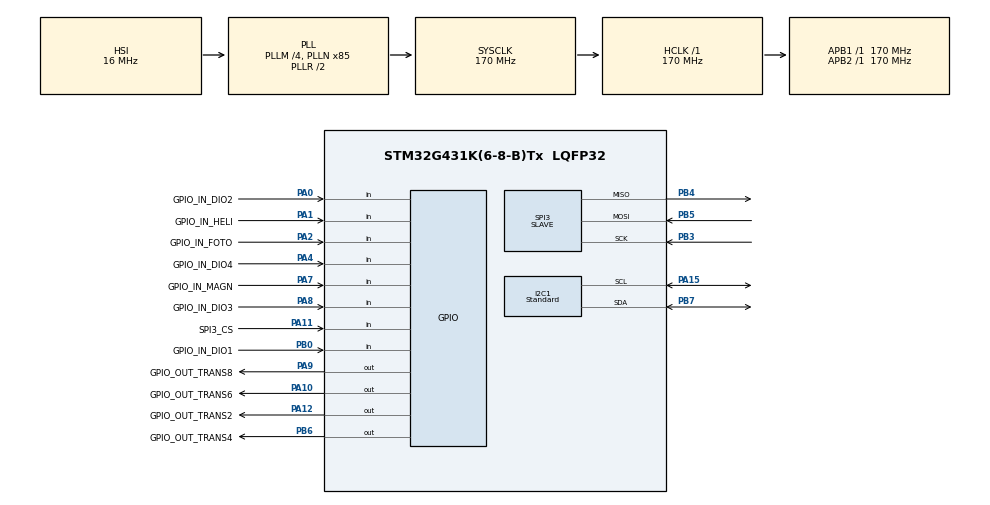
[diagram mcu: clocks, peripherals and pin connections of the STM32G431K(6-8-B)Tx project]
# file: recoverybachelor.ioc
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I2C1.I2C_Speed_Mode=I2C_Standard
I2C1.Timing=0x30A0A7FB
Mcu.Family=STM32G4
Mcu.Name=STM32G431K(6-8-B)Tx
Mcu.Package=LQFP32
NVIC.PriorityGroup=NVIC_PRIORITYGROUP_4
PA0.GPIO_Label=GPIO_IN_DIO2
PA0.Signal=GPIO_Input
PA1.GPIO_Label=GPIO_IN_HELI
PA1.Signal=GPIO_Input
PA10.GPIO_Label=GPIO_OUT_TRANS6
PA10.Signal=GPIO_Output
PA11.GPIO_Label=SPI3_CS
PA11.Signal=GPIO_Input
PA12.GPIO_Label=GPIO_OUT_TRANS2
PA12.Signal=GPIO_Output
PA13.GPIO_Label=T_SWDIO
PA13.Mode=Serial_Wire
PA13.Signal=SYS_JTMS-SWDIO
PA14.GPIO_Label=T_SWCLK
PA14.Mode=Serial_Wire
PA14.Signal=SYS_JTCK-SWCLK
PA15.Mode=I2C
PA15.Signal=I2C1_SCL
PA2.GPIO_Label=GPIO_IN_FOTO
PA2.Signal=GPIO_Input
PA4.GPIO_Label=GPIO_IN_DIO4
PA4.Signal=GPIO_Input
PA7.GPIO_Label=GPIO_IN_MAGN
PA7.Signal=GPIO_Input
PA8.GPIO_Label=GPIO_IN_DIO3
PA8.Signal=GPIO_Input
PA9.GPIO_Label=GPIO_OUT_TRANS8
PA9.Signal=GPIO_Output
PB0.GPIO_Label=GPIO_IN_DIO1
PB0.Signal=GPIO_Input
PB3.Mode=Full_Duplex_Slave
PB3.Signal=SPI3_SCK
PB4.Mode=Full_Duplex_Slave
PB4.Signal=SPI3_MISO
PB5.Mode=Full_Duplex_Slave
PB5.Signal=SPI3_MOSI
PB6.GPIO_Label=GPIO_OUT_TRANS4
PB6.Signal=GPIO_Output
PB7.Mode=I2C
PB7.Signal=I2C1_SDA
ProjectManager.HeapSize=0x200
ProjectManager.StackSize=0x400
ProjectManager.TargetToolchain=Makefile
RCC.ADC12Freq_Value=170000000
RCC.AHBFreq_Value=170000000
RCC.APB1Freq_Value=170000000
RCC.APB1TimFreq_Value=170000000
RCC.APB2Freq_Value=170000000
RCC.APB2TimFreq_Value=170000000
RCC.CortexFreq_Value=170000000
RCC.EXTERNAL_CLOCK_VALUE=12288000
RCC.HCLKFreq_Value=170000000
RCC.HSE_VALUE=8000000
RCC.HSI48_VALUE=48000000
RCC.HSI_VALUE=16000000
RCC.LSE_VALUE=32768
RCC.PLLM=RCC_PLLM_DIV4
RCC.PLLN=85
RCC.SYSCLKFreq_VALUE=170000000
RCC.SYSCLKSource=RCC_SYSCLKSOURCE_PLLCLK
RCC.USBFreq_Value=170000000
RCC.VCOOutputFreq_Value=340000000
SPI3.Direction=SPI_DIRECTION_2LINES
SPI3.Mode=SPI_MODE_SLAVE
SPI3.VirtualType=VM_SLAVE
board=NUCLEO-G431KB

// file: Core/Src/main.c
/* USER CODE BEGIN Header */
/**
  ******************************************************************************
  * @file           : main.c
  * @brief          : Main program body
  ******************************************************************************
  * @attention
  *
  * Copyright (c) 2024 STMicroelectronics.
  * All rights reserved.
  *
  * This software is licensed under terms that can be found in the LICENSE file
  * in the root directory of this software component.
  * If no LICENSE file comes with this software, it is provided AS-IS.
  *
  ******************************************************************************
  */
/* USER CODE END Header */
#include "main.h"
#include "i2c.h"
#include "spi.h"
#include "gpio.h"

/* USER CODE BEGIN Includes */
#include "ms5803.h"
#include "stdlib.h"
#include "stdio.h"
#include "string.h"
#include "stdint.h"
#include "stdbool.h"
#include "ematch.h"
/* USER CODE END Includes */

/* USER CODE BEGIN PV */
uint16_t MS5803_coefficient[6];

/* USER CODE END PV */

void SystemClock_Config(void);

int main(void)
{

  /* MCU Configuration--------------------------------------------------------*/

  /* Reset of all peripherals, Initializes the Flash interface and the Systick. */
  HAL_Init();

  /* Configure the system clock */
  SystemClock_Config();

  /* Initialize all configured peripherals */
  MX_GPIO_Init();
  MX_I2C1_Init();
  MX_SPI3_Init();
  /* USER CODE BEGIN 2 */
  //HAL_GPIO_WritePin(GPIOA,GPIO_PIN_8,GPIO_PIN_SET);
  while(1){
    //volatile GPIO_PinState proxvalue = HAL_GPIO_ReadPin(GPIOA,GPIO_PIN_7); // Måling av verdi fra magnetsensor
  volatile GPIO_PinState dio1_em1 = HAL_GPIO_ReadPin(GPIO_IN_DIO1_GPIO_Port,GPIO_IN_DIO1_Pin); // Måling av verdi fra d1
  volatile GPIO_PinState dio2_em2 = HAL_GPIO_ReadPin(GPIO_IN_DIO2_GPIO_Port,GPIO_IN_DIO2_Pin); // Måling av verdi fra d2
  volatile GPIO_PinState dio3_td1 = HAL_GPIO_ReadPin(GPIO_IN_DIO3_GPIO_Port,GPIO_IN_DIO3_Pin); // Måling av verdi fra d3
  volatile GPIO_PinState dio4_td2 = HAL_GPIO_ReadPin(GPIO_IN_DIO4_GPIO_Port,GPIO_IN_DIO4_Pin); // Måling av verdi fra d4
  //volatile GPIO_PinState foto = HAL_GPIO_ReadPin(GPIO_IN_FOTO_GPIO_Port,GPIO_IN_FOTO_Pin); // Måling av verdi fra fototransistor

  volatile GPIO_PinState foto = HAL_GPIO_ReadPin(GPIO_IN_FOTO_GPIO_Port,GPIO_IN_FOTO_Pin); // avlesning av Miso(PB4) pin og setting av trans 4
  if (foto == GPIO_PIN_SET)
    HAL_GPIO_WritePin(GPIO_OUT_TRANS8_GPIO_Port,GPIO_OUT_TRANS8_Pin,GPIO_PIN_SET);
  else
    HAL_GPIO_WritePin(GPIO_OUT_TRANS8_GPIO_Port,GPIO_OUT_TRANS8_Pin,GPIO_PIN_RESET);
  //pin_matching(EM1_GPIO_Port,EM1_Pin,GPIO_OUT_TRANS2_GPIO_Port, GPIO_OUT_TRANS2_Pin);
  //pin_matching(EM2_GPIO_Port,EM2_Pin,GPIO_OUT_TRANS4_GPIO_Port, GPIO_OUT_TRANS4_Pin);
  //pin_matching(TD1_GPIO_Port,TD1_Pin,GPIO_OUT_TRANS6_GPIO_Port, GPIO_OUT_TRANS6_Pin);
  //pin_matching(TD2_GPIO_Port,TD2_Pin,GPIO_OUT_TRANS8_GPIO_Port, GPIO_OUT_TRANS8_Pin);

  }

    // HAL_StatusTypeDef test = MS5803_reset(&hi2c1); //reset
    //uint8_t gps_address = (0x42 << 1);
    //HAL_StatusTypeDef test_device = HAL_I2C_IsDeviceReady(&hi2c1, gps_address, 10, 1000);
    //uint8_t dev_address = (0x76 << 1);
    //HAL_StatusTypeDef test_device = HAL_I2C_IsDeviceReady(&hi2c1, dev_address, 10, 1000);
  //while(test_device == HAL_ERROR) {
	  // if the test fails
  //}

   //for(int i = 1; i <= 6; i++) {
	   //MS5803_coeff(&hi2c1, &MS5803_coefficient[i-1], i); //get coefficients
   //}
  /* USER CODE END 2 */

  /* Infinite loop */
  /* USER CODE BEGIN WHILE */
    //char print[32];
    //float temperature = 0.0f;
    //float pressure = 0.0f;
  //while (1)
  //{
    //MS5803_get_values(&hi2c1, ADC_256, &temperature, &pressure);
    //HAL_Delay(10);
    /* USER CODE END WHILE */

    /* USER CODE BEGIN 3 */
  //}
  /* USER CODE END 3 */
}

void SystemClock_Config(void)
{
  RCC_OscInitTypeDef RCC_OscInitStruct = {0};
  RCC_ClkInitTypeDef RCC_ClkInitStruct = {0};

  /** Configure the main internal regulator output voltage
  */
  HAL_PWREx_ControlVoltageScaling(PWR_REGULATOR_VOLTAGE_SCALE1_BOOST);

  /** Initializes the RCC Oscillators according to the specified parameters
  * in the RCC_OscInitTypeDef structure.
  */
  RCC_OscInitStruct.OscillatorType = RCC_OSCILLATORTYPE_HSI;
  RCC_OscInitStruct.HSIState = RCC_HSI_ON;
  RCC_OscInitStruct.HSICalibrationValue = RCC_HSICALIBRATION_DEFAULT;
  RCC_OscInitStruct.PLL.PLLState = RCC_PLL_ON;
  RCC_OscInitStruct.PLL.PLLSource = RCC_PLLSOURCE_HSI;
  RCC_OscInitStruct.PLL.PLLM = RCC_PLLM_DIV4;
  RCC_OscInitStruct.PLL.PLLN = 85;
  RCC_OscInitStruct.PLL.PLLP = RCC_PLLP_DIV2;
  RCC_OscInitStruct.PLL.PLLQ = RCC_PLLQ_DIV2;
  RCC_OscInitStruct.PLL.PLLR = RCC_PLLR_DIV2;
  if (HAL_RCC_OscConfig(&RCC_OscInitStruct) != HAL_OK)
  {
    Error_Handler();
  }

  /** Initializes the CPU, AHB and APB buses clocks
  */
  RCC_ClkInitStruct.ClockType = RCC_CLOCKTYPE_HCLK|RCC_CLOCKTYPE_SYSCLK
                              |RCC_CLOCKTYPE_PCLK1|RCC_CLOCKTYPE_PCLK2;
  RCC_ClkInitStruct.SYSCLKSource = RCC_SYSCLKSOURCE_PLLCLK;
  RCC_ClkInitStruct.AHBCLKDivider = RCC_SYSCLK_DIV1;
  RCC_ClkInitStruct.APB1CLKDivider = RCC_HCLK_DIV1;
  RCC_ClkInitStruct.APB2CLKDivider = RCC_HCLK_DIV1;

  if (HAL_RCC_ClockConfig(&RCC_ClkInitStruct, FLASH_LATENCY_4) != HAL_OK)
  {
    Error_Handler();
  }
}

void Error_Handler(void)
{
  __disable_irq();
  while (1)
  {
  }
}
